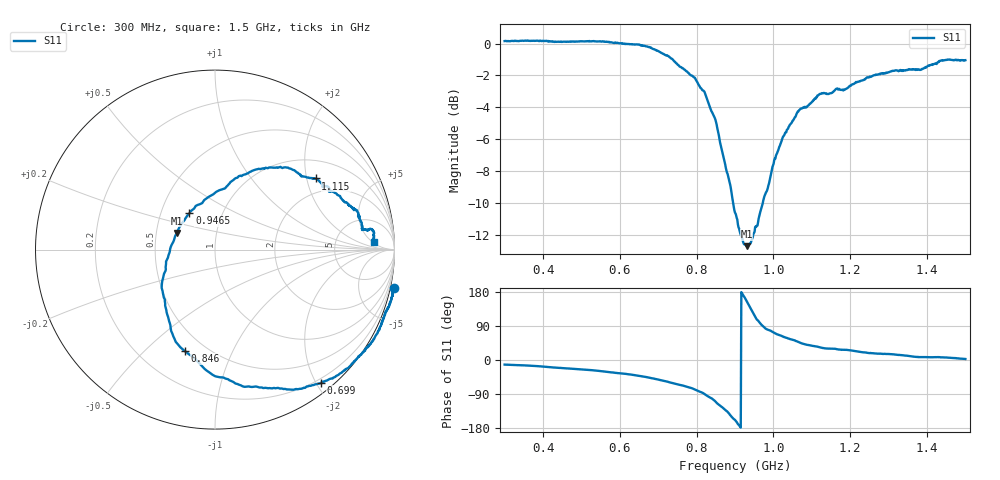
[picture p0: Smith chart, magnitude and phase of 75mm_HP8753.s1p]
! HP 8753 S11 Measurement
! Created: 2026-09-27 17:32:02
! Number of points: 801
! Start frequency: 300.000000000 MHz
! Stop frequency: 1500.000000000 MHz
# MHz S RI R 50
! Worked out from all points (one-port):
!   801 points, 300 MHz to 1.5 GHz, reference 50 ohm
!   lowest |S11| = -12.7 dB at 930 MHz (marker M1), VSWR 1.60, Z = 32 + j6.28 ohm
!   |S11| at or under -10 dB: 895.1 MHz to 972.4 MHz (77.23 MHz wide, 8.27 % of centre)
!   S11 on the Smith chart (normalised r, x): 300 MHz: -0.81, -9.32; 699 MHz: 0.14, -2.07; 846 MHz: 0.39, -0.67; 946.5 MHz: 0.70, +0.30; 1.115 GHz: 1.51, +2.27; 1.5 GHz: 14, +6
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300  0.9957 -0.2146
450  0.9432 -0.3687
532.5  0.9047 -0.4677
600  0.8205 -0.5762
649.5  0.7465 -0.6564
699  0.5923 -0.7411
750  0.3752 -0.7744
799.5  0.135 -0.7533
822  -0.0129 -0.6979
846  -0.169 -0.565
856.5  -0.2374 -0.4685
868.5  -0.266 -0.3623
900  -0.2738 -0.1094
918  -0.2463 0.0153
930  -0.2121 0.0928
946.5  -0.1423 0.2026
969  -0.0153 0.3048
1002  0.1324 0.4091
1050  0.3441 0.4582
1075.5  0.4561 0.43
1114.5  0.5613 0.3963
1200  0.6658 0.3186
1261.5  0.7581 0.2387
1308  0.7901 0.2156
1350  0.8124 0.1571
1377  0.8209 0.1172
1438.5  0.879 0.1083
1500  0.8858 0.0412
